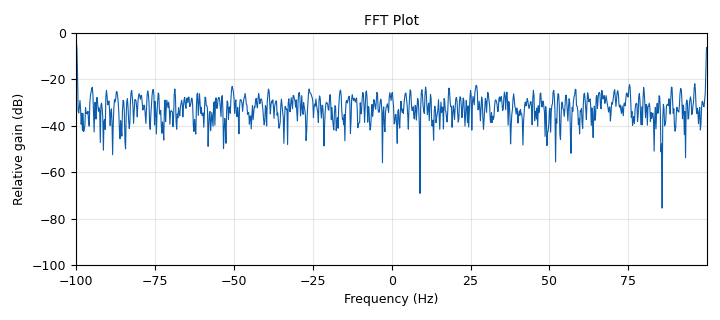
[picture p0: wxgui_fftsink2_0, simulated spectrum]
<?xml version='1.0' encoding='utf-8'?>
<?grc format='1' created='3.7.10'?>
<flow_graph>
<block>
<key>options</key>
<param><key>id</key><value>top_block</value></param>
<param><key>generate_options</key><value>wx_gui</value></param>
</block>
<block>
<key>variable</key>
<param><key>id</key><value>center_freq</value></param>
<param><key>value</key><value>100</value></param>
</block>
<block>
<key>variable</key>
<param><key>id</key><value>samp_rate</value></param>
<param><key>value</key><value>200</value></param>
</block>
<block>
<key>variable_slider</key>
<param><key>id</key><value>variable_slider_0</value></param>
<param><key>converver</key><value>float_converter</value></param>
<param><key>value</key><value>100</value></param>
<param><key>label</key><value>center_freq</value></param>
<param><key>max</key><value>1000</value></param>
<param><key>min</key><value>-1000</value></param>
<param><key>num_steps</key><value>100</value></param>
<param><key>style</key><value>wx.SL_HORIZONTAL</value></param>
</block>
<block>
<key>analog_noise_source_x</key>
<param><key>id</key><value>analog_noise_source_x_0</value></param>
<param><key>amp</key><value>1</value></param>
<param><key>noise_type</key><value>analog.GR_GAUSSIAN</value></param>
<param><key>type</key><value>complex</value></param>
<param><key>seed</key><value>0</value></param>
</block>
<block>
<key>analog_sig_source_x</key>
<param><key>id</key><value>analog_sig_source_x_0</value></param>
<param><key>amp</key><value>1</value></param>
<param><key>freq</key><value>1000</value></param>
<param><key>offset</key><value>0</value></param>
<param><key>type</key><value>complex</value></param>
<param><key>samp_rate</key><value>samp_rate</value></param>
<param><key>waveform</key><value>analog.GR_COS_WAVE</value></param>
</block>
<block>
<key>analog_sig_source_x</key>
<param><key>id</key><value>analog_sig_source_x_1</value></param>
<param><key>amp</key><value>1</value></param>
<param><key>freq</key><value>center_freq</value></param>
<param><key>offset</key><value>0</value></param>
<param><key>type</key><value>complex</value></param>
<param><key>samp_rate</key><value>samp_rate</value></param>
<param><key>waveform</key><value>analog.GR_COS_WAVE</value></param>
</block>
<block>
<key>blocks_add_xx</key>
<param><key>id</key><value>blocks_add_xx_0</value></param>
<param><key>type</key><value>complex</value></param>
</block>
<block>
<key>blocks_multiply_xx</key>
<param><key>id</key><value>blocks_multiply_xx_0</value></param>
<param><key>type</key><value>complex</value></param>
</block>
<block>
<key>wxgui_fftsink2</key>
<param><key>id</key><value>wxgui_fftsink2_0</value></param>
<param><key>avg_alpha</key><value>0</value></param>
<param><key>average</key><value>False</value></param>
<param><key>baseband_freq</key><value>0</value></param>
<param><key>fft_size</key><value>1024</value></param>
<param><key>freqvar</key><value>None</value></param>
<param><key>peak_hold</key><value>False</value></param>
<param><key>ref_level</key><value>0</value></param>
<param><key>ref_scale</key><value>2.0</value></param>
<param><key>fft_rate</key><value>15</value></param>
<param><key>samp_rate</key><value>samp_rate</value></param>
<param><key>title</key><value>FFT Plot</value></param>
<param><key>type</key><value>complex</value></param>
<param><key>win</key><value>None</value></param>
<param><key>y_divs</key><value>10</value></param>
<param><key>y_per_div</key><value>10</value></param>
</block>
<connection><source_block_id>analog_noise_source_x_0</source_block_id><sink_block_id>blocks_add_xx_0</sink_block_id><source_key>0</source_key><sink_key>1</sink_key></connection>
<connection><source_block_id>analog_sig_source_x_0</source_block_id><sink_block_id>blocks_multiply_xx_0</sink_block_id><source_key>0</source_key><sink_key>0</sink_key></connection>
<connection><source_block_id>analog_sig_source_x_1</source_block_id><sink_block_id>blocks_multiply_xx_0</sink_block_id><source_key>0</source_key><sink_key>1</sink_key></connection>
<connection><source_block_id>blocks_add_xx_0</source_block_id><sink_block_id>wxgui_fftsink2_0</sink_block_id><source_key>0</source_key><sink_key>0</sink_key></connection>
<connection><source_block_id>blocks_multiply_xx_0</source_block_id><sink_block_id>blocks_add_xx_0</sink_block_id><source_key>0</source_key><sink_key>0</sink_key></connection>
</flow_graph>
